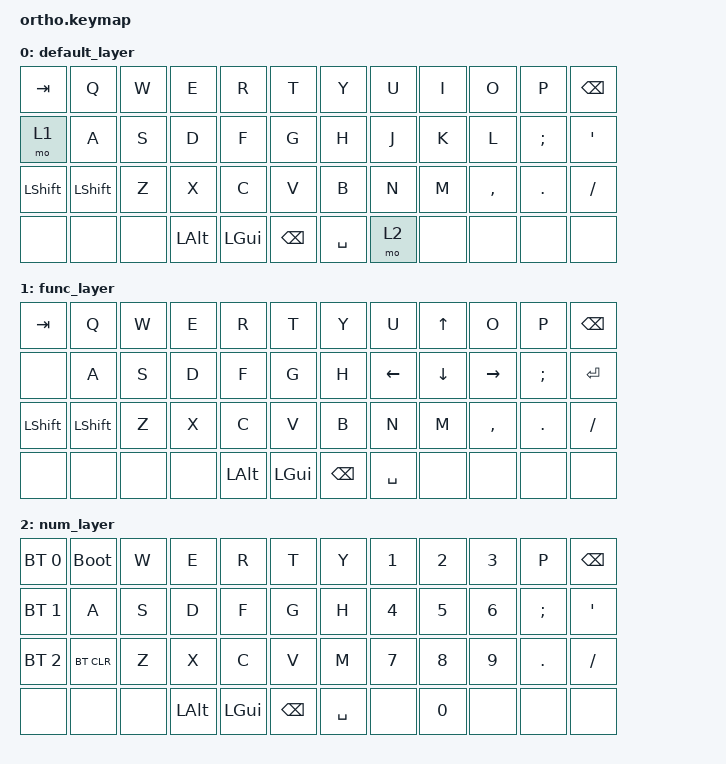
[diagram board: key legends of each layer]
#include <behaviors.dtsi>
#include <dt-bindings/zmk/keys.h>
#include <dt-bindings/zmk/bt.h>
#include <dt-bindings/zmk/outputs.h>

/ {
    keymaps {
        compatible = "zmk,keymap";

        default_layer {
            bindings = <
                &kp TAB   &kp Q   &kp W   &kp E   &kp R   &kp T   &kp Y   &kp U   &kp I   &kp O   &kp P   &kp BSPC
                &mo 1   &kp A   &kp S   &kp D   &kp F   &kp G   &kp H   &kp J   &kp K   &kp L   &kp SEMI   &kp SQT
                &kp LSHIFT   &kp LSHIFT   &kp Z   &kp X   &kp C   &kp V   &kp B   &kp N   &kp M   &kp COMMA   &kp PERIOD   &kp SLASH 
                &none   &none   &none   &kp LALT   &kp LEFT_GUI   &kp BSPC   &kp SPACE   &mo 2   &none   &none   &none   &none
            >;
        };

        func_layer {
            bindings = <
                &kp TAB   &kp Q   &kp W   &kp E   &kp R   &kp T   &kp Y   &kp U   &kp UP   &kp O   &kp P   &kp BSPC
                &none   &kp A   &kp S   &kp D   &kp F   &kp G   &kp H   &kp LEFT   &kp DOWN   &kp RIGHT   &kp SEMI   &kp ENTER
                &kp LSHIFT   &kp LSHIFT   &kp Z   &kp X   &kp C   &kp V   &kp B   &kp N   &kp M   &kp COMMA   &kp PERIOD   &kp SLASH 
                &none   &none   &none   &none   &kp LALT   &kp LEFT_GUI   &kp BSPC   &kp SPACE   &none   &none   &none   &none
            >;
        };

        num_layer {
            bindings = <
                &bt BT_SEL 0   &bootloader   &kp W   &kp E   &kp R   &kp T   &kp Y   &kp N1   &kp N2   &kp N3   &kp P   &kp BSPC
                &bt BT_SEL 1   &kp A   &kp S   &kp D   &kp F   &kp G   &kp H   &kp N4   &kp N5   &kp N6   &kp SEMI   &kp SQT
                &bt BT_SEL 2   &bt BT_CLR   &kp Z   &kp X   &kp C   &kp V   &kp M   &kp N7   &kp N8   &kp N9   &kp PERIOD   &kp SLASH 
                &none   &none   &none   &kp LALT   &kp LEFT_GUI   &kp BSPC   &kp SPACE   &none   &kp N0   &none   &none   &none
            >;
        };
    };
};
